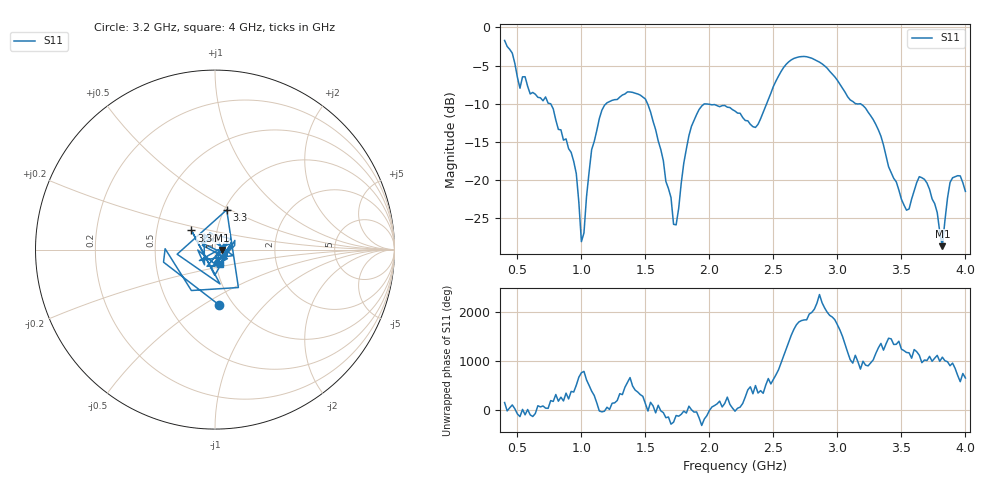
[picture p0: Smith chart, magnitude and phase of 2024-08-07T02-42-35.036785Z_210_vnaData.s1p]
!Created with skrf (http://scikit-rf.org).
# Hz S RI R 50.0
!freq ReS11 ImS11
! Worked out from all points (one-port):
!   181 points, 400 MHz to 4 GHz, reference 50 ohm
!   lowest |S11| = -28.7 dB at 3.82 GHz (marker M1), VSWR 1.08, Z = 53.8 - j0.207 ohm
!   |S11| at or under -10 dB: 755.9 MHz to 1.194 GHz (437.7 MHz wide, 44.9 % of centre); 1.516 GHz to 2.447 GHz (930.5 MHz wide, 47 % of centre); 3.143 GHz to end of sweep
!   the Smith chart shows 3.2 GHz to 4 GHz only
!   S11 on the Smith chart (normalised r, x): 3.2 GHz: 0.86, -0.58; 3.3 GHz: 1.03, +0.48; 3.36 GHz: 0.75, +0.17; 4 GHz: 1.05, -0.17
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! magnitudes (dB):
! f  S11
! 400 MHz  -1.7
! 520 MHz  -8.0
! 720 MHz  -9.1
! 860 MHz  -14.8
! 960 MHz  -19.2
! 1 GHz  -28.1
! 1.08 GHz  -16.0
! 1.14 GHz  -12.0
! 1.3 GHz  -9.1
! 1.5 GHz  -9.4
! 1.64 GHz  -17.5
! 1.72 GHz  -25.9
! 1.76 GHz  -23.8
! 1.84 GHz  -14.2
! 1.92 GHz  -10.8
! 2.2 GHz  -11.0
! 2.36 GHz  -13.1
! 2.66 GHz  -4.1
! 2.88 GHz  -4.8
! 3.1 GHz  -9.5
! 3.2 GHz  -10.3
! 3.3 GHz  -12.7
! 3.36 GHz  -15.4
! 3.56 GHz  -23.8
! 3.68 GHz  -19.9
! 3.82 GHz  -28.7
! 3.88 GHz  -20.4
! 4 GHz  -21.5
